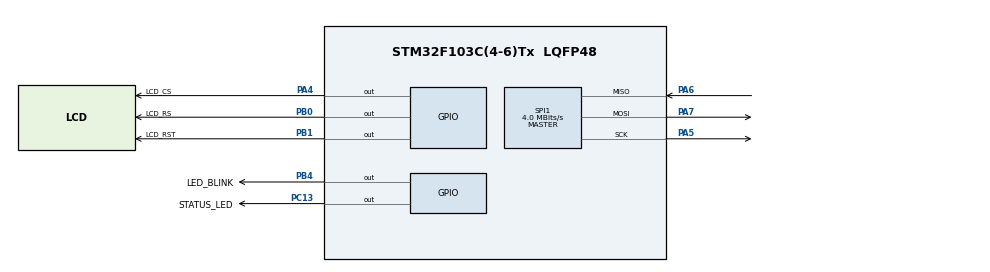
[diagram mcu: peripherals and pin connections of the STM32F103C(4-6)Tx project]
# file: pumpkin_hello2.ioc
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Mcu.Family=STM32F1
Mcu.Name=STM32F103C(4-6)Tx
Mcu.Package=LQFP48
NVIC.PriorityGroup=NVIC_PRIORITYGROUP_4
NVIC.TIM2_IRQn=true\:0\:0\:false\:false\:true\:true\:true\:true
PA13.Mode=Serial_Wire
PA13.Signal=SYS_JTMS-SWDIO
PA14.Mode=Serial_Wire
PA14.Signal=SYS_JTCK-SWCLK
PA4.GPIO_Label=LCD_CS
PA4.Signal=GPIO_Output
PA5.Mode=Full_Duplex_Master
PA5.Signal=SPI1_SCK
PA6.Mode=Full_Duplex_Master
PA6.Signal=SPI1_MISO
PA7.Mode=Full_Duplex_Master
PA7.Signal=SPI1_MOSI
PB0.GPIO_Label=LCD_RS
PB0.Signal=GPIO_Output
PB1.GPIO_Label=LCD_RST
PB1.Signal=GPIO_Output
PB4.GPIO_Label=LED_BLINK
PB4.Signal=GPIO_Output
PC13-TAMPER-RTC.GPIO_Label=STATUS_LED
PC13-TAMPER-RTC.PinState=GPIO_PIN_SET
PC13-TAMPER-RTC.Signal=GPIO_Output
ProjectManager.HeapSize=0x200
ProjectManager.StackSize=0x400
ProjectManager.TargetToolchain=STM32CubeIDE
RCC.APB1Freq_Value=8000000
RCC.APB2Freq_Value=8000000
SPI1.BaudRatePrescaler=SPI_BAUDRATEPRESCALER_2
SPI1.CalculateBaudRate=4.0 MBits/s
SPI1.Direction=SPI_DIRECTION_2LINES
SPI1.Mode=SPI_MODE_MASTER
SPI1.VirtualType=VM_MASTER
TIM2.Period=49
TIM2.Prescaler=7999
VP_TIM2_VS_ClockSourceINT.Mode=Internal
board=custom

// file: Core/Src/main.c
/* USER CODE BEGIN Header */
/**
  ******************************************************************************
  * @file           : main.c
  * @brief          : Main program body
  ******************************************************************************
  * @attention
  *
  * Copyright (c) 2026 STMicroelectronics.
  * All rights reserved.
  *
  * This software is licensed under terms that can be found in the LICENSE file
  * in the root directory of this software component.
  * If no LICENSE file comes with this software, it is provided AS-IS.
  *
  ******************************************************************************
  */
/* USER CODE END Header */
#include "main.h"

/* USER CODE BEGIN Includes */
#include "st7796.h"
#include "spi_test.h"
#include "pumpkin_console.h"
#include "pumpkin_os.h"
#include "status_led.h"

/* USER CODE END Includes */

SPI_HandleTypeDef hspi1;

TIM_HandleTypeDef htim2;

void SystemClock_Config(void);
static void MX_GPIO_Init(void);
static void MX_SPI1_Init(void);
static void MX_TIM2_Init(void);

int main(void)
{

  /* MCU Configuration--------------------------------------------------------*/

  /* Reset of all peripherals, Initializes the Flash interface and the Systick. */
  HAL_Init();

  /* Configure the system clock */
  SystemClock_Config();

  /* Initialize all configured peripherals */
  MX_GPIO_Init();
  MX_SPI1_Init();
  MX_TIM2_Init();
  /* USER CODE BEGIN 2 */

  //Start PC13 heartbeat timer 500ms on/off
  HAL_TIM_Base_Start_IT(&htim2);

  //send commands to start the ST7796 screen doing its thing
  ST7796_Init();

  /* Clear screen */

  ST7796_FillScreen(ST7796_BLACK);

  /* Screen test the bitmap fonts */

  /*
  ST7796_DrawText(
      5,
      10,
      "UPPERCASE:",
      ST7796_GREEN,
      1);

  ST7796_DrawText(
      5,
      30,
      "ABCDEFGHIJKLMNOPQRSTUVWXYZ",
      ST7796_WHITE,
      1);

  ST7796_DrawText(
      5,
      60,
      "lowercase:",
      ST7796_GREEN,
      1);

  ST7796_DrawText(
      5,
      80,
      "abcdefghijklmnopqrstuvwxyz",
      ST7796_WHITE,
      1);

  ST7796_DrawText(
      5,
      110,
      "numbers:",
      ST7796_GREEN,
      1);

  ST7796_DrawText(
      5,
      130,
      "0123456789",
      ST7796_WHITE,
      1);

  ST7796_DrawText(
      5,
      160,
      "symbols:",
      ST7796_GREEN,
      1);

  ST7796_DrawText(
      5,
      180,
      ".,:;-_/\\\\()[]<>=!?",
      ST7796_WHITE,
      1);

  ST7796_DrawText(
      5,
      210,
      "PumpkinOS v0.1\n"
      "Booting...\n"
      "Display OK\n"
      "SPI OK\n"
      "Ready>\n",
      ST7796_GREEN,
      1);

  HAL_Delay(3000);
  */

  /* start pumpkinOS */
//starting scene is set in this function within pumpkin_os.c

//  PumpkinOS_Start();

//  HAL_Delay(3000);

  /* USER CODE END 2 */

  /* Infinite loop */
  /* USER CODE BEGIN WHILE */

  /* Test onboard LED blink */

  PumpkinOS_Start();

  while (1)
  {

	  PumpkinOS_Update();

//	  ActivityLED_Update();

    /* USER CODE END WHILE */

  }
}

void SystemClock_Config(void)
{
  RCC_OscInitTypeDef RCC_OscInitStruct = {0};
  RCC_ClkInitTypeDef RCC_ClkInitStruct = {0};

  /** Initializes the RCC Oscillators according to the specified parameters
  * in the RCC_OscInitTypeDef structure.
  */
  RCC_OscInitStruct.OscillatorType = RCC_OSCILLATORTYPE_HSI;
  RCC_OscInitStruct.HSIState = RCC_HSI_ON;
  RCC_OscInitStruct.HSICalibrationValue = RCC_HSICALIBRATION_DEFAULT;
  RCC_OscInitStruct.PLL.PLLState = RCC_PLL_NONE;
  if (HAL_RCC_OscConfig(&RCC_OscInitStruct) != HAL_OK)
  {
    Error_Handler();
  }

  /** Initializes the CPU, AHB and APB buses clocks
  */
  RCC_ClkInitStruct.ClockType = RCC_CLOCKTYPE_HCLK|RCC_CLOCKTYPE_SYSCLK
                              |RCC_CLOCKTYPE_PCLK1|RCC_CLOCKTYPE_PCLK2;
  RCC_ClkInitStruct.SYSCLKSource = RCC_SYSCLKSOURCE_HSI;
  RCC_ClkInitStruct.AHBCLKDivider = RCC_SYSCLK_DIV1;
  RCC_ClkInitStruct.APB1CLKDivider = RCC_HCLK_DIV1;
  RCC_ClkInitStruct.APB2CLKDivider = RCC_HCLK_DIV1;

  if (HAL_RCC_ClockConfig(&RCC_ClkInitStruct, FLASH_LATENCY_0) != HAL_OK)
  {
    Error_Handler();
  }
}

static void MX_SPI1_Init(void)
{

  /* SPI1 parameter configuration*/
  hspi1.Instance = SPI1;
  hspi1.Init.Mode = SPI_MODE_MASTER;
  hspi1.Init.Direction = SPI_DIRECTION_2LINES;
  hspi1.Init.DataSize = SPI_DATASIZE_8BIT;
  hspi1.Init.CLKPolarity = SPI_POLARITY_LOW;
  hspi1.Init.CLKPhase = SPI_PHASE_1EDGE;
  hspi1.Init.NSS = SPI_NSS_SOFT;
  hspi1.Init.BaudRatePrescaler = SPI_BAUDRATEPRESCALER_2;
  hspi1.Init.FirstBit = SPI_FIRSTBIT_MSB;
  hspi1.Init.TIMode = SPI_TIMODE_DISABLE;
  hspi1.Init.CRCCalculation = SPI_CRCCALCULATION_DISABLE;
  hspi1.Init.CRCPolynomial = 10;
  if (HAL_SPI_Init(&hspi1) != HAL_OK)
  {
    Error_Handler();
  }

}

static void MX_TIM2_Init(void)
{

  TIM_ClockConfigTypeDef sClockSourceConfig = {0};
  TIM_MasterConfigTypeDef sMasterConfig = {0};

  htim2.Instance = TIM2;
  htim2.Init.Prescaler = 7999;
  htim2.Init.CounterMode = TIM_COUNTERMODE_UP;
  htim2.Init.Period = 49;
  htim2.Init.ClockDivision = TIM_CLOCKDIVISION_DIV1;
  htim2.Init.AutoReloadPreload = TIM_AUTORELOAD_PRELOAD_DISABLE;
  if (HAL_TIM_Base_Init(&htim2) != HAL_OK)
  {
    Error_Handler();
  }
  sClockSourceConfig.ClockSource = TIM_CLOCKSOURCE_INTERNAL;
  if (HAL_TIM_ConfigClockSource(&htim2, &sClockSourceConfig) != HAL_OK)
  {
    Error_Handler();
  }
  sMasterConfig.MasterOutputTrigger = TIM_TRGO_RESET;
  sMasterConfig.MasterSlaveMode = TIM_MASTERSLAVEMODE_DISABLE;
  if (HAL_TIMEx_MasterConfigSynchronization(&htim2, &sMasterConfig) != HAL_OK)
  {
    Error_Handler();
  }

}

static void MX_GPIO_Init(void)
{
  GPIO_InitTypeDef GPIO_InitStruct = {0};

  /* GPIO Ports Clock Enable */
  __HAL_RCC_GPIOC_CLK_ENABLE();
  __HAL_RCC_GPIOA_CLK_ENABLE();
  __HAL_RCC_GPIOB_CLK_ENABLE();

  /*Configure GPIO pin Output Level */
  HAL_GPIO_WritePin(STATUS_LED_GPIO_Port, STATUS_LED_Pin, GPIO_PIN_SET);

  /*Configure GPIO pin Output Level */
  HAL_GPIO_WritePin(LCD_CS_GPIO_Port, LCD_CS_Pin, GPIO_PIN_RESET);

  /*Configure GPIO pin Output Level */
  HAL_GPIO_WritePin(GPIOB, LCD_RS_Pin|LCD_RST_Pin|LED_BLINK_Pin, GPIO_PIN_RESET);

  /*Configure GPIO pin : STATUS_LED_Pin */
  GPIO_InitStruct.Pin = STATUS_LED_Pin;
  GPIO_InitStruct.Mode = GPIO_MODE_OUTPUT_PP;
  GPIO_InitStruct.Pull = GPIO_NOPULL;
  GPIO_InitStruct.Speed = GPIO_SPEED_FREQ_LOW;
  HAL_GPIO_Init(STATUS_LED_GPIO_Port, &GPIO_InitStruct);

  /*Configure GPIO pin : LCD_CS_Pin */
  GPIO_InitStruct.Pin = LCD_CS_Pin;
  GPIO_InitStruct.Mode = GPIO_MODE_OUTPUT_PP;
  GPIO_InitStruct.Pull = GPIO_NOPULL;
  GPIO_InitStruct.Speed = GPIO_SPEED_FREQ_LOW;
  HAL_GPIO_Init(LCD_CS_GPIO_Port, &GPIO_InitStruct);

  /*Configure GPIO pins : LCD_RS_Pin LCD_RST_Pin LED_BLINK_Pin */
  GPIO_InitStruct.Pin = LCD_RS_Pin|LCD_RST_Pin|LED_BLINK_Pin;
  GPIO_InitStruct.Mode = GPIO_MODE_OUTPUT_PP;
  GPIO_InitStruct.Pull = GPIO_NOPULL;
  GPIO_InitStruct.Speed = GPIO_SPEED_FREQ_LOW;
  HAL_GPIO_Init(GPIOB, &GPIO_InitStruct);

}

/* USER CODE BEGIN 4 */

void HAL_TIM_PeriodElapsedCallback(TIM_HandleTypeDef *htim)
{
	//blink the PC13 LED
    if (htim->Instance == TIM2)
    {
        // heartbeat every 10 timer ticks
        static uint8_t heartbeatCounter = 0;

        heartbeatCounter++;

        if (heartbeatCounter >= 10)
        {
            heartbeatCounter = 0;

            HAL_GPIO_TogglePin(
                STATUS_LED_GPIO_Port,
                STATUS_LED_Pin);
        }
    }

    //random blinks for the fake activity LED
	static uint8_t burst = 0;
	static uint16_t counter = 0;

	counter++;

	if (burst == 0)
	{
	    if ((counter % 29) == 0)
	        burst = 2;

	    if ((counter % 53) == 0)
	        burst = 5;

	    if ((counter % 97) == 0)
	        burst = 8;
	}

	else
	{
	    HAL_GPIO_TogglePin(
	        LED_BLINK_GPIO_Port,
	        LED_BLINK_Pin);

	    burst--;

	    if (burst == 0)
	    {
	        HAL_GPIO_WritePin(
	            LED_BLINK_GPIO_Port,
	            LED_BLINK_Pin,
	            GPIO_PIN_RESET);
	    }
	}

}

/* USER CODE END 4 */

void Error_Handler(void)
{
  __disable_irq();
  while (1)
  {
  }
}
